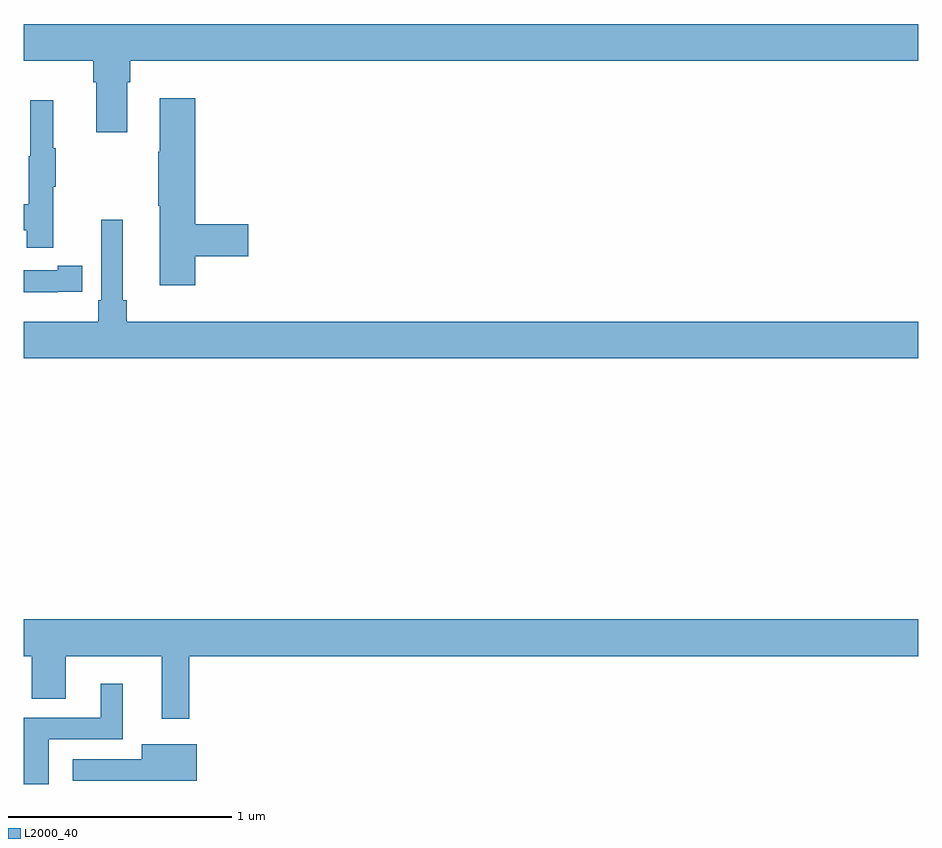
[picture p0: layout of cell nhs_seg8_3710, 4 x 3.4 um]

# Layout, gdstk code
import gdstk
lib = gdstk.Library(unit=1e-6, precision=1e-09)
def P(c, l, *ps):  # polygons
    for p in ps: c.add(gdstk.Polygon(p, *l))
L2000_40 = (2000, 40)

nhs_seg8_3710 = lib.new_cell('nhs_seg8_3710')
P(nhs_seg8_3710, L2000_40, [(339.463,1147.04),(339.476,1147.04),(339.476,1147.136),(343,1147.136),(343,1147.3),(339,1147.3),(339,1147.136),(339.311,1147.136),(339.311,1147.04),(339.323,1147.04),(339.323,1146.816),(339.463,1146.816)],
  [(339.767,1146.262),(340.003,1146.262),(340.003,1146.404),(339.767,1146.404),(339.767,1146.967),(339.608,1146.967),(339.608,1146.728),(339.601,1146.728),(339.601,1146.487),(339.608,1146.487),(339.608,1146.132),(339.767,1146.132)],
  [(339.131,1146.571),(339.142,1146.571),(339.142,1146.745),(339.131,1146.745),(339.131,1146.958),(339.028,1146.958),(339.028,1146.708),(339.021,1146.708),(339.021,1146.494),(339,1146.494),(339,1146.378),(339.013,1146.378),(339.013,1146.3),(339.131,1146.3)],
  [(343,1145.968),(339.461,1145.968),(339.461,1146.064),(339.442,1146.064),(339.442,1146.424),(339.345,1146.424),(339.345,1146.064),(339.332,1146.064),(339.332,1145.968),(339,1145.968),(339,1145.804),(343,1145.804)],
  [(339.152,1146.102),(339.26,1146.102),(339.26,1146.218),(339.152,1146.218),(339.152,1146.198),(339,1146.198),(339,1146.101),(339.152,1146.101)],
  [(339,1144.472),(339.035,1144.472),(339.035,1144.282),(339.187,1144.282),(339.187,1144.472),(339.617,1144.472),(339.617,1144.191),(339.739,1144.191),(339.739,1144.472),(343,1144.472),(343,1144.636),(339,1144.636)],
  [(339.112,1144.101),(339.442,1144.101),(339.442,1144.348),(339.344,1144.348),(339.344,1144.197),(339,1144.197),(339,1143.9),(339.112,1143.9)],
  [(339.772,1144.078),(339.527,1144.078),(339.527,1144.011),(339.219,1144.011),(339.219,1143.915),(339.531,1143.915),(339.531,1143.914),(339.772,1143.914)])

lib.write_gds('nhs_seg8_3710.gds')
